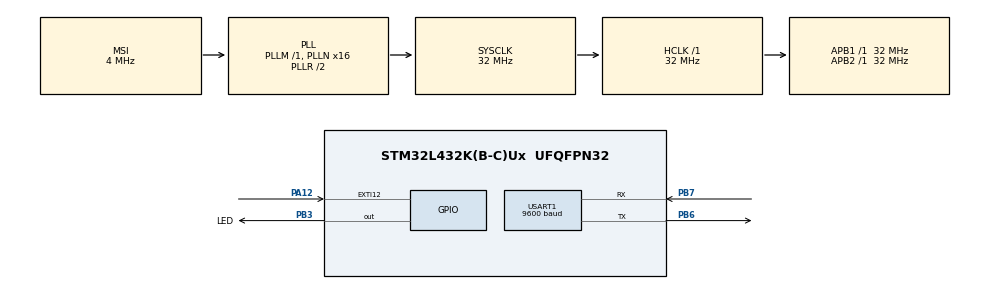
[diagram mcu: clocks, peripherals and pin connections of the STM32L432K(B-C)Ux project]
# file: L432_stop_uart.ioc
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Mcu.Family=STM32L4
Mcu.Name=STM32L432K(B-C)Ux
Mcu.Package=UFQFPN32
NVIC.EXTI15_10_IRQn=true\:0\:0\:false\:false\:true\:true\:true
NVIC.PriorityGroup=NVIC_PRIORITYGROUP_4
NVIC.USART1_IRQn=true\:15\:0\:true\:false\:true\:true\:true
PA12.Signal=GPXTI12
PA13\ (JTMS-SWDIO).Mode=Serial_Wire
PA13\ (JTMS-SWDIO).Signal=SYS_JTMS-SWDIO
PA14\ (JTCK-SWCLK).Mode=Serial_Wire
PA14\ (JTCK-SWCLK).Signal=SYS_JTCK-SWCLK
PB3\ (JTDO-TRACESWO).GPIO_Label=LED
PB3\ (JTDO-TRACESWO).Signal=GPIO_Output
PB6.Mode=Asynchronous
PB6.Signal=USART1_TX
PB7.Mode=Asynchronous
PB7.Signal=USART1_RX
ProjectManager.HeapSize=0x200
ProjectManager.StackSize=0x400
ProjectManager.TargetToolchain=MDK-ARM V5.27
RCC.ADCFreq_Value=16000000
RCC.AHBFreq_Value=32000000
RCC.APB1Freq_Value=32000000
RCC.APB1TimFreq_Value=32000000
RCC.APB2Freq_Value=32000000
RCC.APB2TimFreq_Value=32000000
RCC.CortexFreq_Value=32000000
RCC.HCLKFreq_Value=32000000
RCC.HSE_VALUE=8000000
RCC.HSI16_VALUE=16000000
RCC.HSI48_VALUE=48000000
RCC.HSICalibrationValue=0
RCC.HSI_VALUE=16000000
RCC.LSE_VALUE=1000000
RCC.MSI_VALUE=4000000
RCC.PLLMUL=RCC_PLLMUL_4
RCC.PLLN=16
RCC.SYSCLKFreq_VALUE=32000000
RCC.SYSCLKSource=RCC_SYSCLKSOURCE_PLLCLK
RCC.USART1CLockSelection=RCC_USART1CLKSOURCE_HSI
RCC.USBFreq_Value=16000000
RCC.VCOOutputFreq_Value=64000000
USART1.BaudRate=9600
USART1.VirtualMode-Asynchronous=VM_ASYNC
board=NUCLEO-L432KC

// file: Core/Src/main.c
/* USER CODE BEGIN Header */
/**
  ******************************************************************************
  * @file           : main.c
  * @brief          : Main program body
  ******************************************************************************
  * @attention
  *
  * <h2><center>&copy; Copyright (c) 2020 STMicroelectronics.
  * All rights reserved.</center></h2>
  *
  * This software component is licensed by ST under BSD 3-Clause license,
  * the "License"; You may not use this file except in compliance with the
  * License. You may obtain a copy of the License at:
  *                        opensource.org/licenses/BSD-3-Clause
  *
  ******************************************************************************
  */
/* USER CODE END Header */
#include "main.h"

UART_HandleTypeDef huart1;

/* USER CODE BEGIN PV */
UART_WakeUpTypeDef WakeUpSelection;
/* USER CODE END PV */

void SystemClock_Config(void);
static void MX_GPIO_Init(void);
static void MX_USART1_UART_Init(void);
/* USER CODE BEGIN PFP */
static void SystemPower_Config(void);
/* USER CODE END PFP */

/* USER CODE BEGIN 0 */
uint8_t uart_buffer[100];
/* USER CODE END 0 */

int main(void)
{

  /* MCU Configuration--------------------------------------------------------*/

  /* Reset of all peripherals, Initializes the Flash interface and the Systick. */
  HAL_Init();

  /* Configure the system clock */
  SystemClock_Config();
  /* USER CODE BEGIN SysInit */
	SystemPower_Config();
	/* Select HSI as wakeup clock from stop mode */
  __HAL_RCC_WAKEUPSTOP_CLK_CONFIG(RCC_STOP_WAKEUPCLOCK_HSI);
  /* USER CODE END SysInit */

  /* Initialize all configured peripherals */
  MX_GPIO_Init();
  MX_USART1_UART_Init();
  /* USER CODE BEGIN 2 */

	  /* set the wake-up event:* specify wake-up on RXNE flag */
  WakeUpSelection.WakeUpEvent = UART_WAKEUP_ON_READDATA_NONEMPTY;
  if (HAL_UARTEx_StopModeWakeUpSourceConfig(&huart1, WakeUpSelection)!= HAL_OK)
  {
    Error_Handler();
  }
	  /* Enable the UART Wake UP from STOP1 mode Interrupt */
  __HAL_UART_ENABLE_IT(&huart1, UART_IT_WUF);
	  /* enable MCU wake-up by UART */
  HAL_UARTEx_EnableStopMode(&huart1);

	HAL_GPIO_WritePin(LED_GPIO_Port, LED_Pin, 1);
	HAL_Delay(5000);
	HAL_GPIO_WritePin(LED_GPIO_Port, LED_Pin, 0);
	HAL_PWREx_EnterSTOP1Mode(PWR_STOPENTRY_WFI);

	//Return from sleep mode
	HAL_Delay(100);
	SystemClock_Config();
	HAL_UARTEx_DisableStopMode(&huart1);

	HAL_UART_Transmit_IT(&huart1, "Wake up\r\n", 9);
  /* USER CODE END 2 */

  /* Infinite loop */
  while (1)
  {

  }
}

void SystemClock_Config(void)
{
  RCC_OscInitTypeDef RCC_OscInitStruct = {0};
  RCC_ClkInitTypeDef RCC_ClkInitStruct = {0};
  RCC_PeriphCLKInitTypeDef PeriphClkInit = {0};

  /** Initializes the RCC Oscillators according to the specified parameters
  * in the RCC_OscInitTypeDef structure.
  */
  RCC_OscInitStruct.OscillatorType = RCC_OSCILLATORTYPE_HSI|RCC_OSCILLATORTYPE_MSI;
  RCC_OscInitStruct.HSIState = RCC_HSI_ON;
  RCC_OscInitStruct.HSICalibrationValue = 0;
  RCC_OscInitStruct.MSIState = RCC_MSI_ON;
  RCC_OscInitStruct.MSICalibrationValue = 0;
  RCC_OscInitStruct.MSIClockRange = RCC_MSIRANGE_6;
  RCC_OscInitStruct.PLL.PLLState = RCC_PLL_ON;
  RCC_OscInitStruct.PLL.PLLSource = RCC_PLLSOURCE_MSI;
  RCC_OscInitStruct.PLL.PLLM = 1;
  RCC_OscInitStruct.PLL.PLLN = 16;
  RCC_OscInitStruct.PLL.PLLP = RCC_PLLP_DIV7;
  RCC_OscInitStruct.PLL.PLLQ = RCC_PLLQ_DIV2;
  RCC_OscInitStruct.PLL.PLLR = RCC_PLLR_DIV2;
  if (HAL_RCC_OscConfig(&RCC_OscInitStruct) != HAL_OK)
  {
    Error_Handler();
  }
  /** Initializes the CPU, AHB and APB buses clocks
  */
  RCC_ClkInitStruct.ClockType = RCC_CLOCKTYPE_HCLK|RCC_CLOCKTYPE_SYSCLK
                              |RCC_CLOCKTYPE_PCLK1|RCC_CLOCKTYPE_PCLK2;
  RCC_ClkInitStruct.SYSCLKSource = RCC_SYSCLKSOURCE_PLLCLK;
  RCC_ClkInitStruct.AHBCLKDivider = RCC_SYSCLK_DIV1;
  RCC_ClkInitStruct.APB1CLKDivider = RCC_HCLK_DIV1;
  RCC_ClkInitStruct.APB2CLKDivider = RCC_HCLK_DIV1;

  if (HAL_RCC_ClockConfig(&RCC_ClkInitStruct, FLASH_LATENCY_1) != HAL_OK)
  {
    Error_Handler();
  }
  PeriphClkInit.PeriphClockSelection = RCC_PERIPHCLK_USART1;
  PeriphClkInit.Usart1ClockSelection = RCC_USART1CLKSOURCE_HSI;
  if (HAL_RCCEx_PeriphCLKConfig(&PeriphClkInit) != HAL_OK)
  {
    Error_Handler();
  }
  /** Configure the main internal regulator output voltage
  */
  if (HAL_PWREx_ControlVoltageScaling(PWR_REGULATOR_VOLTAGE_SCALE1) != HAL_OK)
  {
    Error_Handler();
  }
}

static void MX_USART1_UART_Init(void)
{

  huart1.Instance = USART1;
  huart1.Init.BaudRate = 9600;
  huart1.Init.WordLength = UART_WORDLENGTH_8B;
  huart1.Init.StopBits = UART_STOPBITS_1;
  huart1.Init.Parity = UART_PARITY_NONE;
  huart1.Init.Mode = UART_MODE_TX_RX;
  huart1.Init.HwFlowCtl = UART_HWCONTROL_NONE;
  huart1.Init.OverSampling = UART_OVERSAMPLING_16;
  huart1.Init.OneBitSampling = UART_ONE_BIT_SAMPLE_DISABLE;
  huart1.AdvancedInit.AdvFeatureInit = UART_ADVFEATURE_NO_INIT;
  if (HAL_UART_Init(&huart1) != HAL_OK)
  {
    Error_Handler();
  }

}

static void MX_GPIO_Init(void)
{
  GPIO_InitTypeDef GPIO_InitStruct = {0};

  /* GPIO Ports Clock Enable */
  __HAL_RCC_GPIOA_CLK_ENABLE();
  __HAL_RCC_GPIOB_CLK_ENABLE();

  /*Configure GPIO pin Output Level */
  HAL_GPIO_WritePin(LED_GPIO_Port, LED_Pin, GPIO_PIN_RESET);

  /*Configure GPIO pin : PA12 */
  GPIO_InitStruct.Pin = GPIO_PIN_12;
  GPIO_InitStruct.Mode = GPIO_MODE_IT_RISING;
  GPIO_InitStruct.Pull = GPIO_NOPULL;
  HAL_GPIO_Init(GPIOA, &GPIO_InitStruct);

  /*Configure GPIO pin : LED_Pin */
  GPIO_InitStruct.Pin = LED_Pin;
  GPIO_InitStruct.Mode = GPIO_MODE_OUTPUT_PP;
  GPIO_InitStruct.Pull = GPIO_NOPULL;
  GPIO_InitStruct.Speed = GPIO_SPEED_FREQ_LOW;
  HAL_GPIO_Init(LED_GPIO_Port, &GPIO_InitStruct);

  /* EXTI interrupt init*/
  HAL_NVIC_SetPriority(EXTI15_10_IRQn, 0, 0);
  HAL_NVIC_EnableIRQ(EXTI15_10_IRQn);

}

/* USER CODE BEGIN 4 */
void HAL_UART_RxCpltCallback(UART_HandleTypeDef *huart) {
  if (huart == &huart1) {

  }
}

void HAL_UART_TxCpltCallback(UART_HandleTypeDef *huart) {
  if (huart == &huart1) {

  }
}

static void SystemPower_Config(void)
{
  GPIO_InitTypeDef GPIO_InitStructure;

  /* Enable Power Clock */
  __HAL_RCC_PWR_CLK_ENABLE();

/* Enable GPIOs clock */
    __HAL_RCC_GPIOA_CLK_ENABLE();
    __HAL_RCC_GPIOB_CLK_ENABLE();
    __HAL_RCC_GPIOC_CLK_ENABLE();
    __HAL_RCC_GPIOH_CLK_ENABLE();

    /* Configure all GPIO port pins in Analog Input mode (floating input trigger OFF) */
    /* Note: Debug using ST-Link is not possible during the execution of this   */
    /*       example because communication between ST-link and the device       */
    /*       under test is done through UART. All GPIO pins are disabled (set   */
    /*       to analog input mode) including  UART I/O pins.           */
    GPIO_InitStructure.Pin = GPIO_PIN_All;
    GPIO_InitStructure.Mode = GPIO_MODE_ANALOG;
    GPIO_InitStructure.Pull = GPIO_NOPULL;

    HAL_GPIO_Init(GPIOA, &GPIO_InitStructure);
    HAL_GPIO_Init(GPIOB, &GPIO_InitStructure);
    HAL_GPIO_Init(GPIOC, &GPIO_InitStructure);
    HAL_GPIO_Init(GPIOH, &GPIO_InitStructure);

    /* Disable GPIOs clock */
    __HAL_RCC_GPIOA_CLK_DISABLE();
    __HAL_RCC_GPIOB_CLK_DISABLE();
    __HAL_RCC_GPIOC_CLK_DISABLE();
    __HAL_RCC_GPIOH_CLK_DISABLE();
}

/* USER CODE END 4 */

void Error_Handler(void)
{
  /* USER CODE BEGIN Error_Handler_Debug */
  /* User can add his own implementation to report the HAL error return state */
	while(1) {
		HAL_Delay(100);
		HAL_GPIO_TogglePin(LED_GPIO_Port, LED_Pin);
	}

  /* USER CODE END Error_Handler_Debug */
}

/************************ (C) COPYRIGHT STMicroelectronics *****END OF FILE****/
